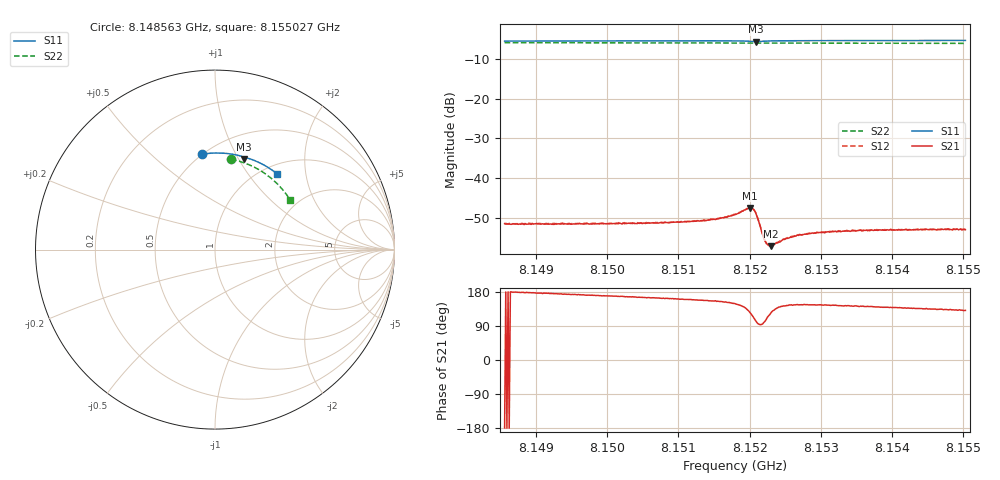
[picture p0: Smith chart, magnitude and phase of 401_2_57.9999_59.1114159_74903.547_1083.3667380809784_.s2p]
#  HZ  S  RI  R  50.00
! Rohde & Schwarz Vector Network Analyzer
! Rohde-Schwarz,ZNB20-2Port,1311601062101988,3.16
! Created: UTC 3/21/2024, 1:08:15 AM
! freq[Hz]  re:S11  im:S11  re:S21  im:S21  re:S12  im:S12  re:S22  im:S22
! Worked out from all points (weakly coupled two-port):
!   401 points, 8.148563 GHz to 8.155027 GHz, reference 50 ohm
!   highest |S21| = -47.57 dB at 8.152005 GHz (marker M1); lowest = -57.2 dB at 8.152296 GHz (marker M2)
!   lowest |S11| = -5.5 dB at 8.152086 GHz (marker M3), VSWR 3.24, Z = 37.8 + j52.8 ohm
!   |S11| at or under -10 dB: nowhere
!   |S22| runs from -6.0 to -5.8 dB; largest |S21 - S12| = 0.00013
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8.1485627e9  -0.0737 0.5311  -0.00265 -3.38e-05  -0.00265 1.77e-05  0.0898 0.5036
8.1496454e9  0.00143 0.5381  -0.00261 0.00038  -0.00264 0.000443  0.1575 0.4852
8.1507281e9  0.0768 0.5343  -0.00259 0.000765  -0.00262 0.000816  0.2214 0.458
8.1513098e9  0.1174 0.5277  -0.00267 0.00108  -0.00266 0.00113  0.2537 0.4396
8.1516492e9  0.1414 0.5217  -0.00284 0.00146  -0.00283 0.00149  0.2722 0.4279
8.1517946e9  0.1523 0.5179  -0.00293 0.00178  -0.00297 0.00185  0.2799 0.4227
8.1520047e9  0.1656 0.5065  -0.00242 0.00341  -0.00242 0.00343  0.2905 0.4148
8.1520532e9  0.1648 0.5032  -0.00154 0.00371  -0.00151 0.00375  0.2928 0.4128
8.1520855e9  0.1633 0.5029  -0.000833 0.00352  -0.000806 0.00356  0.2944 0.4114
8.1521178e9  0.1627 0.5041  -0.000296 0.003  -0.000273 0.003  0.2959 0.4105
8.1521825e9  0.1653 0.5078  -0.000175 0.00192  -0.000146 0.00194  0.2991 0.4084
8.1522148e9  0.1678 0.509  -0.000332 0.00157  -0.000343 0.00158  0.3007 0.407
8.1522471e9  0.1705 0.5095  -0.000553 0.00135  -0.00051 0.00135  0.3024 0.4059
8.1522956e9  0.1747 0.5098  -0.000761 0.00115  -0.000761 0.00122  0.305 0.4041
8.1523441e9  0.1788 0.5094  -0.000961 0.00108  -0.00096 0.00109  0.3075 0.402
8.1524895e9  0.19 0.5069  -0.00133 0.00101  -0.00134 0.00102  0.3146 0.3962
8.1525542e9  0.1947 0.5056  -0.00144 0.000997  -0.00145 0.00108  0.3177 0.3937
8.1526834e9  0.2037 0.5025  -0.00155 0.00107  -0.00159 0.00107  0.3238 0.3882
8.1528774e9  0.2166 0.4977  -0.00167 0.00114  -0.00163 0.00117  0.3331 0.38
8.1532813e9  0.2429 0.4863  -0.00168 0.00125  -0.00173 0.0013  0.3515 0.3622
8.1539601e9  0.2845 0.4644  -0.00165 0.00146  -0.00161 0.00147  0.38 0.3304
8.1550266e9  0.3454 0.4229  -0.00145 0.00168  -0.00145 0.00172  0.4188 0.2761
